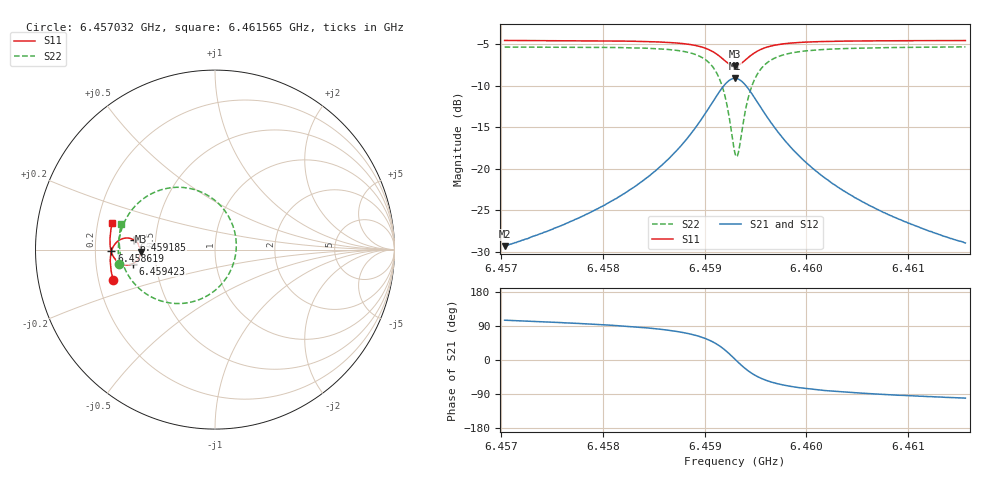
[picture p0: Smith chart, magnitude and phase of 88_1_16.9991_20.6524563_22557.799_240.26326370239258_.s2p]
#  HZ  S  RI  R  50.00
! Rohde & Schwarz Vector Network Analyzer
! Rohde-Schwarz,ZNB20-2Port,1311601062101988,3.16
! Created: UTC 3/20/2024, 10:56:00 PM
! freq[Hz]  re:S11  im:S11  re:S21  im:S21  re:S12  im:S12  re:S22  im:S22
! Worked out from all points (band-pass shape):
!   401 points, 6.457032 GHz to 6.461565 GHz, reference 50 ohm
!   highest |S21| = -9.12 dB at 6.459299 GHz (marker M1); lowest = -29.4 dB at 6.457032 GHz (marker M2)
!   |S21| within 3 dB of the highest: 6.459072 GHz to 6.459525 GHz (453.4 kHz wide, 0.00702 % of centre)
!   lowest |S11| = -7.6 dB at 6.459299 GHz (marker M3), VSWR 2.42, Z = 20.7 - j0.531 ohm
!   |S11| at or under -10 dB: nowhere
!   |S22| runs from -18.6 to -5.3 dB; largest |S21 - S12| = 0.014
!   S11 on the Smith chart (normalised r, x): 6.457032 GHz: 0.26, -0.14; 6.458619 GHz: 0.27, -0.01; 6.459185 GHz: 0.38, +0.05; 6.459423 GHz: 0.37, -0.07; 6.461565 GHz: 0.26, +0.12
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6.4570324e9  -0.5672 -0.1693  -0.00883 0.0329  -0.007 0.0329  -0.5343 -0.0791
6.4577916e9  -0.5809 -0.1027  -0.00528 0.0511  -0.00293 0.0505  -0.5388 0.0106
6.4582109e9  -0.5835 -0.0603  0.000684 0.0708  0.00402 0.0694  -0.5298 0.078
6.4585508e9  -0.5794 -0.0192  0.0149 0.1  0.0189 0.0973  -0.5035 0.1559
6.4586188e9  -0.5771 -0.00972  0.0205 0.1085  0.0243 0.1053  -0.4933 0.1759
6.4588115e9  -0.5642 0.0208  0.0475 0.1398  0.0514 0.1348  -0.4426 0.2452
6.4589588e9  -0.5412 0.0472  0.0936 0.1704  0.0966 0.1638  -0.3575 0.3094
6.4590948e9  -0.4965 0.0645  0.182 0.1868  0.1829 0.1795  -0.1959 0.3471
6.4591854e9  -0.4514 0.0537  0.273 0.1546  0.2732 0.1488  -0.0279 0.2943
6.4592534e9  -0.4218 0.0209  0.3337 0.0813  0.3361 0.0761  0.0876 0.162
6.4592987e9  -0.415 -0.0106  0.3499 0.0124  0.3536 0.00548  0.1187 0.0333
6.4593101e9  -0.4155 -0.0188  0.3495 -0.00563  0.3536 -0.0132  0.118 -0.000678
6.4593327e9  -0.4192 -0.0348  0.3436 -0.0406  0.3476 -0.0498  0.106 -0.0671
6.4593781e9  -0.435 -0.0612  0.3143 -0.101  0.3166 -0.113  0.0467 -0.1808
6.4594234e9  -0.4575 -0.0777  0.2716 -0.1422  0.2708 -0.1556  -0.04 -0.2555
6.4595141e9  -0.5014 -0.0848  0.1857 -0.1733  0.1795 -0.1849  -0.2107 -0.3005
6.4596614e9  -0.5458 -0.0643  0.097 -0.1589  0.0884 -0.1651  -0.3793 -0.2496
6.45982e9  -0.5677 -0.0366  0.0519 -0.1305  0.044 -0.1332  -0.4599 -0.1765
6.460058e9  -0.5806 -0.00113  0.0223 -0.0985  0.0165 -0.099  -0.508 -0.0936
6.4604319e9  -0.5856 0.0434  0.00539 -0.0694  0.00137 -0.0687  -0.5302 -0.00777
6.4608172e9  -0.5836 0.082  -0.0015 -0.0525  -0.00427 -0.0516  -0.5334 0.0539
6.4615651e9  -0.572 0.1486  -0.00653 -0.035  -0.00825 -0.0341  -0.5221 0.143
